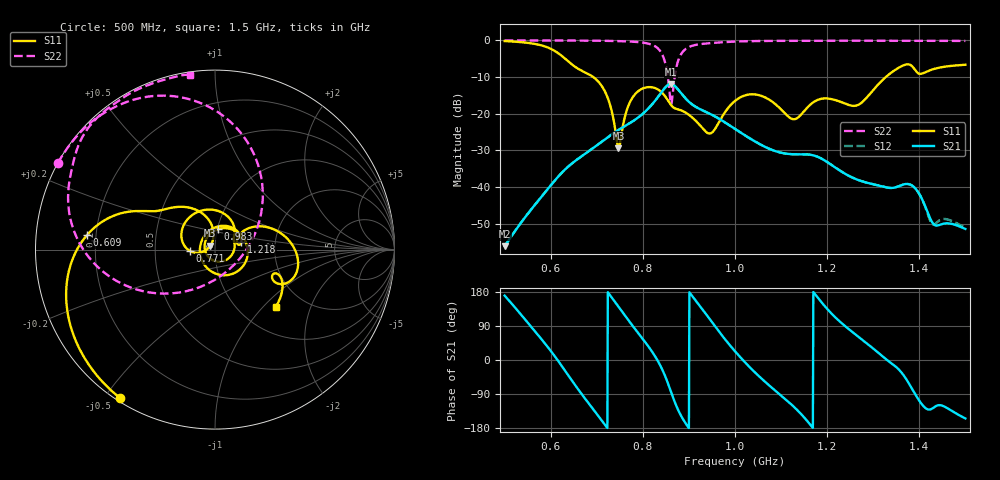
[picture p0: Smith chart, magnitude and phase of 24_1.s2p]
! TOUCHSTONE file generated by CST MICROWAVE STUDIO
! Date and time: Fri Oct  2 18:38:23 2020
! Project name: Scenario_1_Free_Space_out_of_line.cst
! Parameters = {Lambda=346.42; Step_1=17.321; dy1=-51.203; dx1=173; L_HA=400; MT=2.54; Rad_Dielectric=30; Rad_Lower=7.3; Rad_Upper=30; a_HA=580; a_WG=246; b_HA=500; b_WG=121; c_HA=0; c_WG=187; d_feed=85; h_feed=15; h_lower=18; h_upper=40}
! Header version: 2018
! Port assignment regex: !\s*Touchstone port\s*([0-9]+)\s*=\s*(CST MWS port|CST DS port)\s*([0-9]+|Zmin|Zmax)\s*\(\"(.*)\"\)(\s*mode\s*([0-9]+))?.*
! Touchstone port assignment:
! Touchstone port 1 = CST MWS port 1 ("")
! Touchstone port 2 = CST MWS port 2 ("")
# GHz S DB R 50
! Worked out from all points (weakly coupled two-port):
!   1003 points, 500 MHz to 1.5 GHz, reference 50 ohm
!   highest |S21| = -11.91 dB at 861 MHz (marker M1); lowest = -56.1 dB at 500 MHz (marker M2)
!   lowest |S11| = -29.4 dB at 747 MHz (marker M3), VSWR 1.07, Z = 47.4 + j2.08 ohm
!   |S11| at or under -10 dB: 692.4 MHz to 1.327 GHz (634.7 MHz wide, 62.9 % of centre)
!   |S22| runs from -17.3 to 0.0 dB; largest |S21 - S12| = 0.00054
!   S11 on the Smith chart (normalised r, x): 500 MHz: 0.01, -0.55; 609 MHz: 0.16, +0.05; 771 MHz: 0.76, -0.01; 983 MHz: 1.01, +0.23; 1.218 GHz: 1.34, +0.12; 1.5 GHz: 1.44, -1.18
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0.5  -0.16 -122.5  -56.13 170.0  -56.13 170.0  -0.01 151.1
0.609  -2.88 173.6  -38.20 9.7  -38.20 9.7  -0.02 143.4
0.667  -8.24 146.2  -31.61 -89.6  -31.61 -89.6  -0.05 138.4
0.717  -13.75 107.8  -27.04 -169.6  -27.04 -169.6  -0.10 132.8
0.747  -29.39 139.7  -24.42 140.3  -24.42 140.3  -0.19 128.3
0.771  -17.11 -176.9  -22.62 101.0  -22.62 101.0  -0.29 123.6
0.834  -13.46 81.2  -15.23 -5.7  -15.23 -5.7  -2.34 88.5
0.861  -17.59 36.0  -11.91 -83.7  -11.91 -83.7  -17.31 -37.2
0.873  -18.69 24.8  -12.88 -122.1  -12.88 -122.1  -7.19 -146.9
0.894  -19.79 -9.1  -16.01 -169.2  -16.01 -169.2  -2.23 175.0
0.945  -25.40 -150.7  -19.98 108.2  -19.98 108.2  -0.75 150.3
0.983  -18.76 81.4  -22.75 47.6  -22.75 47.6  -0.42 143.5
1  -16.50 47.1  -24.15 23.0  -24.15 23.0  -0.31 141.0
1.078  -16.47 -72.1  -29.75 -71.1  -29.75 -71.1  -0.13 131.9
1.127  -21.50 178.3  -31.05 -122.6  -31.05 -122.6  -0.11 127.5
1.167  -17.15 72.8  -31.27 -176.1  -31.27 -176.1  -0.11 124.3
1.218  -16.28 16.5  -34.71 112.2  -34.71 112.2  -0.09 120.4
1.268  -17.54 23.3  -38.10 61.4  -38.10 61.4  -0.08 116.6
1.334  -9.28 19.4  -40.21 -3.7  -40.21 -3.7  -0.09 111.6
1.382  -6.79 -21.9  -39.42 -71.3  -39.44 -71.2  -0.10 107.9
1.428  -7.93 -23.4  -49.63 -128.1  -50.09 -121.4  -0.11 104.2
1.5  -6.64 -43.6  -51.43 -154.3  -51.11 -158.9  -0.13 98.1
